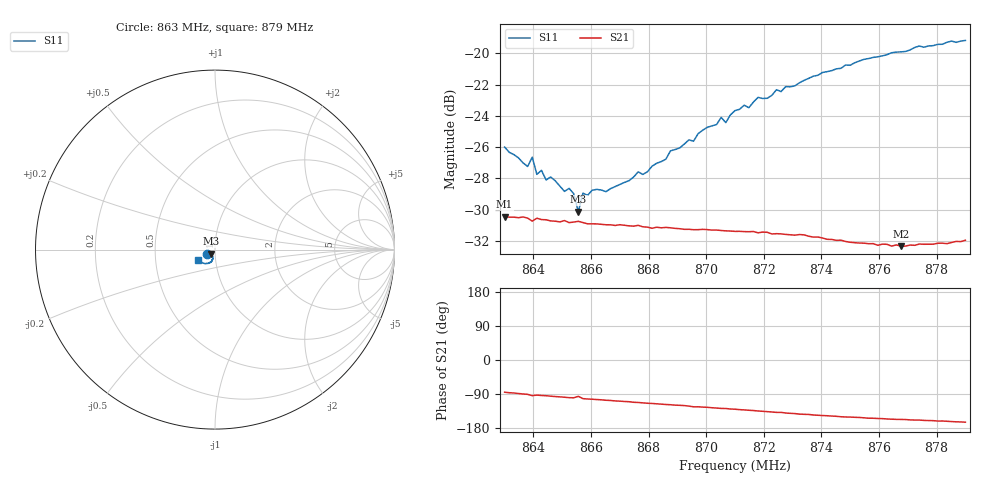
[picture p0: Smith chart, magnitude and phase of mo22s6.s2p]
# HZ S RI R 50
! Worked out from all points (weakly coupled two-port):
!   101 points, 863 MHz to 879 MHz, reference 50 ohm
!   highest |S21| = -30.45 dB at 863 MHz (marker M1); lowest = -32.3 dB at 876.76 MHz (marker M2)
!   lowest |S11| = -30.1 dB at 865.56 MHz (marker M3), VSWR 1.06, Z = 47.8 - j2.12 ohm
!   |S11| at or under -10 dB: start of sweep to end of sweep
!   S12 and S22 are empty: the file has one direction only
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8.63e8  -0.0443 -0.0236  0.00262 -0.0299  0 0  0 0
8.638e8  -0.0366 -0.0235  -0.000353 -0.0297  0 0  0 0
8.6396e8  -0.0387 -0.0258  -0.00209 -0.029  0 0  0 0
8.6412e8  -0.0336 -0.0235  -0.00135 -0.0297  0 0  0 0
8.6428e8  -0.0333 -0.026  -0.00188 -0.0293  0 0  0 0
8.6444e8  -0.0315 -0.0237  -0.00217 -0.0293  0 0  0 0
8.646e8  -0.0313 -0.0253  -0.00279 -0.029  0 0  0 0
8.6508e8  -0.025 -0.0261  -0.00419 -0.0289  0 0  0 0
8.6524e8  -0.0257 -0.0266  -0.0047 -0.0284  0 0  0 0
8.654e8  -0.0238 -0.0264  -0.00484 -0.0285  0 0  0 0
8.6556e8  -0.0219 -0.0222  -0.003 -0.0289  0 0  0 0
8.6572e8  -0.0216 -0.0285  -0.00594 -0.0281  0 0  0 0
8.6652e8  -0.0177 -0.0315  -0.00792 -0.0272  0 0  0 0
8.6844e8  -0.0119 -0.0434  -0.0123 -0.0248  0 0  0 0
8.6876e8  -0.0123 -0.0472  -0.013 -0.0244  0 0  0 0
8.7052e8  -0.0168 -0.0601  -0.0166 -0.0214  0 0  0 0
8.7068e8  -0.0149 -0.0581  -0.0167 -0.0213  0 0  0 0
8.71e8  -0.0179 -0.0631  -0.0173 -0.0207  0 0  0 0
8.7372e8  -0.0356 -0.0766  -0.0212 -0.0148  0 0  0 0
8.7644e8  -0.0659 -0.0758  -0.0221 -0.00976  0 0  0 0
8.7676e8  -0.0691 -0.0738  -0.0222 -0.00953  0 0  0 0
8.79e8  -0.0922 -0.0599  -0.0243 -0.00692  0 0  0 0
